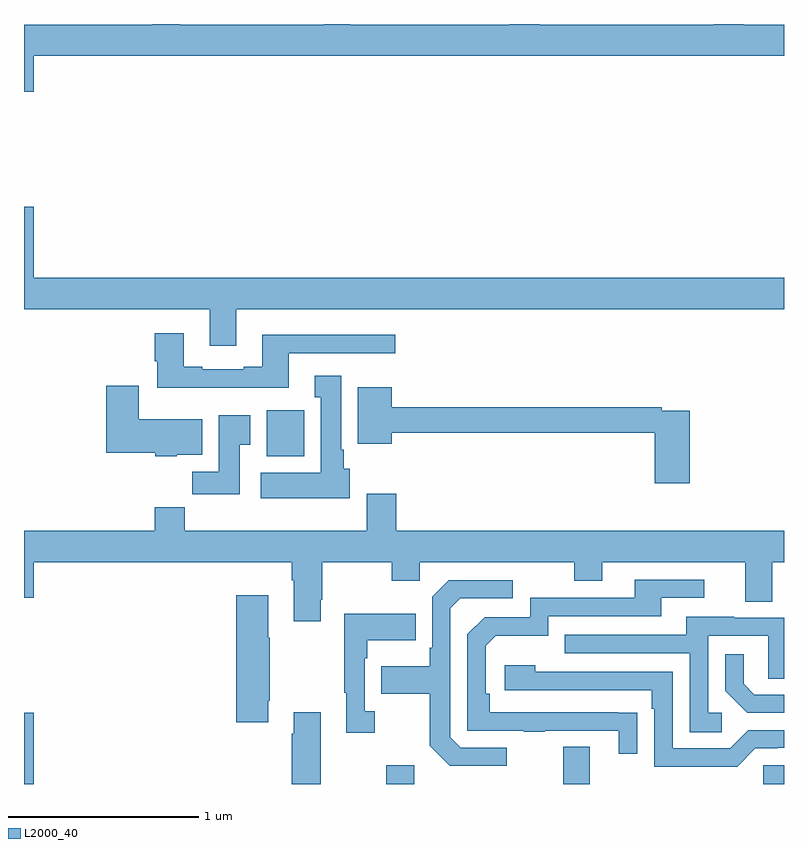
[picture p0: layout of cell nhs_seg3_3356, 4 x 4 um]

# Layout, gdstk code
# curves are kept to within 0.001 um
import gdstk
lib = gdstk.Library(unit=1e-6, precision=1e-09)
def R(c, l, rs):  # rectangles x0, y0, x1, y1
    for r in rs: c.add(gdstk.rectangle(r[:2], r[2:], *l))
def P(c, l, *ps):  # polygons
    for p in ps: c.add(gdstk.Polygon(p, *l))
L2000_40 = (2000, 40)

nhs_seg3_3356 = lib.new_cell('nhs_seg3_3356')
R(nhs_seg3_3356, L2000_40, [(285,714.4,285.052,714.775), (286.906,714.4,287.053,714.499), (287.837,714.4,287.977,714.595), (288.891,714.4,289,714.498), (286.277,716.126,286.474,716.368)])
P(nhs_seg3_3356, L2000_40, [(285.052,718.232),(289,718.232),(289,718.396),(288.789,718.396),(288.789,718.4),(288.629,718.4),(288.629,718.396),(287.714,718.396),(287.714,718.4),(287.554,718.4),(287.554,718.396),(286.717,718.396),(286.717,718.4),(286.577,718.4),(286.577,718.396),(285.823,718.396),(285.823,718.4),(285.676,718.4),(285.676,718.396),(285,718.396),(285,718.044),(285.052,718.044)],
  [(286.117,716.9),(289,716.9),(289,717.064),(285.052,717.064),(285.052,717.439),(285,717.439),(285,716.9),(285.977,716.9),(285.977,716.706),(286.117,716.706)],
  [(286.393,716.667),(286.954,716.667),(286.954,716.764),(286.253,716.764),(286.253,716.596),(286.157,716.596),(286.157,716.583),(285.937,716.583),(285.937,716.596),(285.841,716.596),(285.841,716.773),(285.689,716.773),(285.689,716.625),(285.701,716.625),(285.701,716.486),(286.393,716.486)],
  [(286.714,716.058),(286.684,716.058),(286.684,716.158),(286.669,716.158),(286.669,716.548),(286.529,716.548),(286.529,716.435),(286.562,716.435),(286.562,716.038),(286.245,716.038),(286.245,715.904),(286.714,715.904)],
  [(285.804,716.132),(285.937,716.132),(285.937,716.32),(285.604,716.32),(285.604,716.497),(285.434,716.497),(285.434,716.144),(285.69,716.144),(285.69,716.126),(285.804,716.126)],
  [(288.503,716.364),(288.356,716.364),(288.356,716.384),(286.936,716.384),(286.936,716.488),(286.757,716.488),(286.757,716.192),(286.936,716.192),(286.936,716.248),(288.32,716.248),(288.32,715.983),(288.503,715.983)],
  [(286.135,716.185),(286.192,716.185),(286.192,716.341),(286.025,716.341),(286.025,716.044),(285.886,716.044),(285.886,715.926),(286.135,715.926)],
  [(286.561,715.369),(286.569,715.369),(286.569,715.568),(286.936,715.568),(286.936,715.469),(287.082,715.469),(287.082,715.568),(287.896,715.568),(287.896,715.469),(288.043,715.469),(288.043,715.568),(288.797,715.568),(288.797,715.36),(288.937,715.36),(288.937,715.568),(289,715.568),(289,715.732),(286.958,715.732),(286.958,715.927),(286.805,715.927),(286.805,715.732),(285.845,715.732),(285.845,715.856),(285.689,715.856),(285.689,715.732),(285,715.732),(285,715.38),(285.052,715.38),(285.052,715.568),(286.409,715.568),(286.409,715.472),(286.421,715.472),(286.421,715.257),(286.561,715.257)],
  [(288.227,714.776),(287.45,714.777),(287.45,714.874),(287.43,714.874),(287.43,715.128),(287.483,715.181),(287.76,715.181),(287.76,715.284),(288.355,715.284),(288.355,715.38),(288.58,715.38),(288.58,715.476),(288.215,715.476),(288.215,715.38),(287.664,715.38),(287.664,715.278),(287.424,715.278),(287.334,715.188),(287.334,714.681),(287.629,714.681),(287.629,714.676),(287.741,714.676),(287.741,714.681),(288.131,714.681),(288.131,714.558),(288.227,714.558)],
  [(287.542,714.591),(287.298,714.591),(287.244,714.645),(287.244,715.326),(287.295,715.377),(287.572,715.377),(287.572,715.473),(287.235,715.473),(287.148,715.386),(287.148,715.117),(287.136,715.117),(287.136,715.021),(286.879,715.021),(286.879,714.874),(287.136,714.874),(287.136,714.601),(287.241,714.495),(287.542,714.495)],
  [(286.285,714.838),(286.293,714.838),(286.293,715.169),(286.285,715.169),(286.285,715.393),(286.118,715.393),(286.118,714.726),(286.285,714.726)],
  [(286.846,714.782),(286.794,714.782),(286.794,715.061),(286.807,715.061),(286.807,715.157),(287.063,715.157),(287.063,715.297),(286.686,715.297),(286.686,714.881),(286.697,714.881),(286.697,714.669),(286.846,714.669)],
  [(288.673,714.774),(288.6,714.774),(288.6,715.179),(288.918,715.179),(288.918,714.955),(289,714.955),(289,715.275),(288.739,715.275),(288.739,715.279),(288.485,715.279),(288.485,715.185),(287.845,715.185),(287.845,715.089),(288.504,715.089),(288.504,714.673),(288.673,714.673)],
  [(289,714.87),(288.844,714.87),(288.787,714.927),(288.787,715.084),(288.69,715.084),(288.69,714.89),(288.806,714.774),(289,714.774)],
  [(288.849,714.588),(288.968,714.588),(288.968,714.591),(289,714.591),(289,714.684),(288.813,714.684),(288.717,714.588),(288.414,714.588),(288.414,714.99),(287.69,714.99),(287.69,715.024),(287.529,715.024),(287.529,714.894),(288.305,714.894),(288.305,714.797),(288.318,714.797),(288.318,714.492),(288.753,714.492)],
  [(286.561,714.778),(286.421,714.778),(286.421,714.665),(286.409,714.665),(286.409,714.4),(286.561,714.4)])

lib.write_gds('nhs_seg3_3356.gds')
